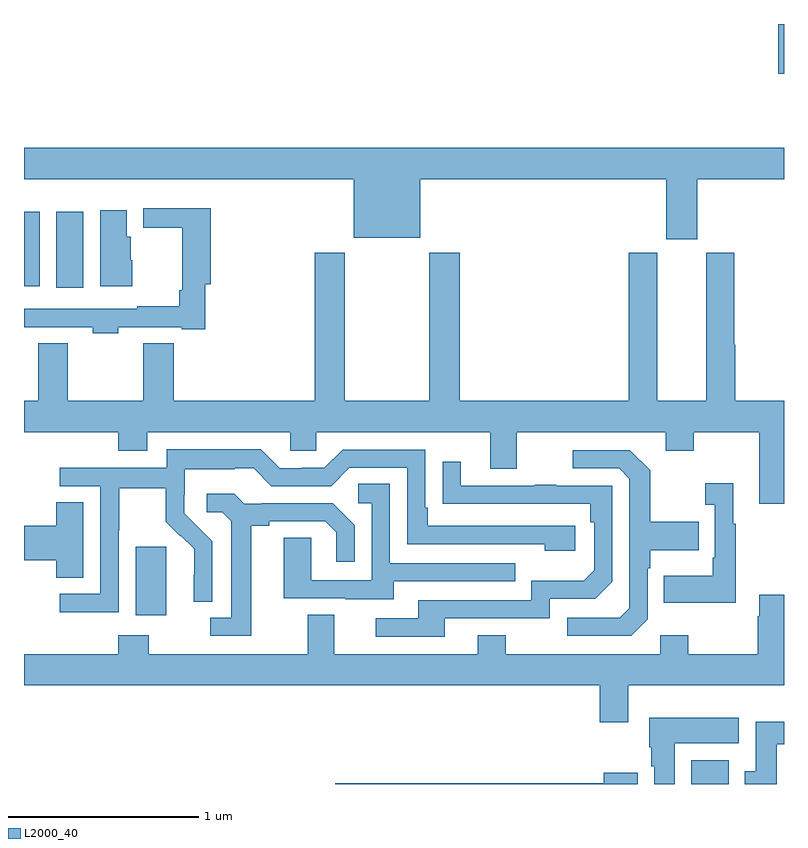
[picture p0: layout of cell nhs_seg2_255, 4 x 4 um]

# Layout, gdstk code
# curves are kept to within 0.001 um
import gdstk
lib = gdstk.Library(unit=1e-6, precision=1e-09)
def R(c, l, rs):  # rectangles x0, y0, x1, y1
    for r in rs: c.add(gdstk.rectangle(r[:2], r[2:], *l))
def P(c, l, *ps):  # polygons
    for p in ps: c.add(gdstk.Polygon(p, *l))
L2000_40 = (2000, 40)

nhs_seg2_255 = lib.new_cell('nhs_seg2_255')
R(nhs_seg2_255, L2000_40, [(126.512,629.8,126.709,629.926), (123.587,630.687,123.748,631.048), (123.17,632.412,123.313,632.812), (123,632.42,123.082,632.812), (126.971,633.537,127,633.8)])
P(nhs_seg2_255, L2000_40, [(126.544,632.984),(127,632.984),(127,633.148),(123,633.148),(123,632.984),(124.736,632.984),(124.736,632.675),(125.086,632.675),(125.086,632.984),(126.38,632.984),(126.38,632.667),(126.544,632.667)],
  [(123.495,632.205),(123.83,632.205),(123.83,632.193),(123.953,632.193),(123.953,632.429),(123.983,632.429),(123.983,632.83),(123.627,632.83),(123.627,632.728),(123.832,632.728),(123.832,632.398),(123.817,632.398),(123.817,632.314),(123.595,632.314),(123.595,632.301),(123,632.301),(123,632.205),(123.363,632.205),(123.363,632.173),(123.495,632.173)],
  [(123.571,632.556),(123.562,632.556),(123.562,632.679),(123.541,632.679),(123.541,632.821),(123.401,632.821),(123.401,632.42),(123.571,632.42)],
  [(127,631.816),(126.743,631.816),(126.743,632.112),(126.738,632.112),(126.738,632.595),(126.59,632.595),(126.59,631.816),(126.334,631.816),(126.334,632.595),(126.182,632.595),(126.182,631.816),(125.294,631.816),(125.294,632.596),(125.134,632.596),(125.134,631.816),(124.689,631.816),(124.689,632.596),(124.529,632.596),(124.529,631.816),(123.788,631.816),(123.788,632.12),(123.628,632.12),(123.628,631.816),(123.23,631.816),(123.23,632.12),(123.076,632.12),(123.076,631.816),(123,631.816),(123,631.652),(123.497,631.652),(123.497,631.553),(123.649,631.553),(123.649,631.652),(124.401,631.652),(124.401,631.554),(124.539,631.554),(124.539,631.652),(125.453,631.652),(125.453,631.458),(125.593,631.458),(125.593,631.652),(126.377,631.652),(126.377,631.553),(126.525,631.553),(126.525,631.652),(126.869,631.652),(126.869,631.275),(127,631.275)],
  [(123.498,631.135),(123.501,631.135),(123.501,631.356),(123.745,631.356),(123.745,631.181),(123.822,631.104),(123.825,631.107),(123.896,631.037),(123.896,630.902),(123.893,630.902),(123.893,630.76),(123.99,630.76),(123.99,631.078),(123.844,631.226),(123.844,631.323),(123.846,631.323),(123.846,631.457),(124.109,631.457),(124.109,631.461),(124.209,631.461),(124.302,631.368),(124.617,631.368),(124.713,631.464),(125.016,631.464),(125.016,631.062),(125.741,631.062),(125.741,631.028),(125.902,631.028),(125.902,631.158),(125.125,631.158),(125.125,631.255),(125.112,631.255),(125.112,631.56),(124.677,631.56),(124.581,631.464),(124.463,631.464),(124.463,631.461),(124.347,631.461),(124.247,631.561),(123.75,631.561),(123.75,631.464),(123.189,631.464),(123.189,631.368),(123.402,631.368),(123.402,630.801),(123.189,630.801),(123.189,630.703),(123.498,630.703)],
  [(126.282,630.666),(126.282,630.935),(126.295,630.935),(126.295,631.031),(126.551,631.031),(126.551,631.179),(126.295,631.179),(126.295,631.451),(126.189,631.557),(125.889,631.557),(125.889,631.461),(126.132,631.461),(126.186,631.407),(126.186,630.726),(126.135,630.675),(125.859,630.675),(125.859,630.579),(126.195,630.579)],
  [(125.215,630.672),(125.766,630.672),(125.766,630.774),(126.006,630.774),(126.096,630.864),(126.096,631.371),(125.801,631.371),(125.801,631.376),(125.689,631.376),(125.689,631.371),(125.299,631.371),(125.299,631.495),(125.203,631.495),(125.203,631.276),(125.98,631.275),(125.98,631.178),(126,631.178),(126,630.924),(125.947,630.871),(125.67,630.871),(125.67,630.768),(125.075,630.768),(125.075,630.672),(124.851,630.672),(124.851,630.576),(125.215,630.576)],
  [(126.745,631.171),(126.733,631.171),(126.733,631.384),(126.585,631.384),(126.585,631.271),(126.636,631.271),(126.636,630.991),(126.624,630.991),(126.624,630.895),(126.367,630.895),(126.367,630.755),(126.745,630.755)],
  [(124.945,630.867),(125.585,630.867),(125.585,630.963),(124.926,630.963),(124.926,631.379),(124.758,631.379),(124.758,631.278),(124.83,631.278),(124.83,630.873),(124.512,630.873),(124.512,631.097),(124.367,631.097),(124.367,630.777),(124.691,630.777),(124.691,630.773),(124.945,630.773)],
  [(124.195,631.16),(124.291,631.16),(124.291,631.182),(124.586,631.182),(124.643,631.125),(124.643,630.969),(124.74,630.969),(124.74,631.162),(124.624,631.278),(124.252,631.278),(124.252,631.275),(124.158,631.275),(124.106,631.327),(123.963,631.327),(123.963,631.23),(124.044,631.23),(124.091,631.183),(124.091,630.675),(123.981,630.675),(123.981,630.579),(124.195,630.579)],
  [(123.313,631.283),(123.17,631.283),(123.17,631.16),(123,631.16),(123,630.977),(123.17,630.977),(123.17,630.886),(123.313,630.886)],
  [(126.181,630.32),(127,630.32),(127,630.796),(126.869,630.796),(126.869,630.683),(126.862,630.683),(126.862,630.484),(126.495,630.484),(126.495,630.583),(126.348,630.583),(126.348,630.484),(125.535,630.484),(125.535,630.583),(125.387,630.583),(125.387,630.484),(124.633,630.484),(124.633,630.692),(124.493,630.692),(124.493,630.484),(123.657,630.484),(123.657,630.583),(123.497,630.583),(123.497,630.484),(123,630.484),(123,630.32),(126.029,630.32),(126.029,630.126),(126.181,630.126)],
  [(126.424,630.014),(126.763,630.014),(126.763,630.148),(126.29,630.148),(126.29,629.994),(126.302,629.994),(126.302,629.894),(126.317,629.894),(126.317,629.8),(126.424,629.8)],
  [(126.961,630.008),(127,630.008),(127,630.127),(126.851,630.127),(126.851,629.868),(126.794,629.868),(126.794,629.8),(126.961,629.8)],
  [(126.229,629.86),(126.05,629.86),(126.05,629.804),(124.637,629.804),(124.637,629.8),(126.229,629.8)])

lib.write_gds('nhs_seg2_255.gds')
